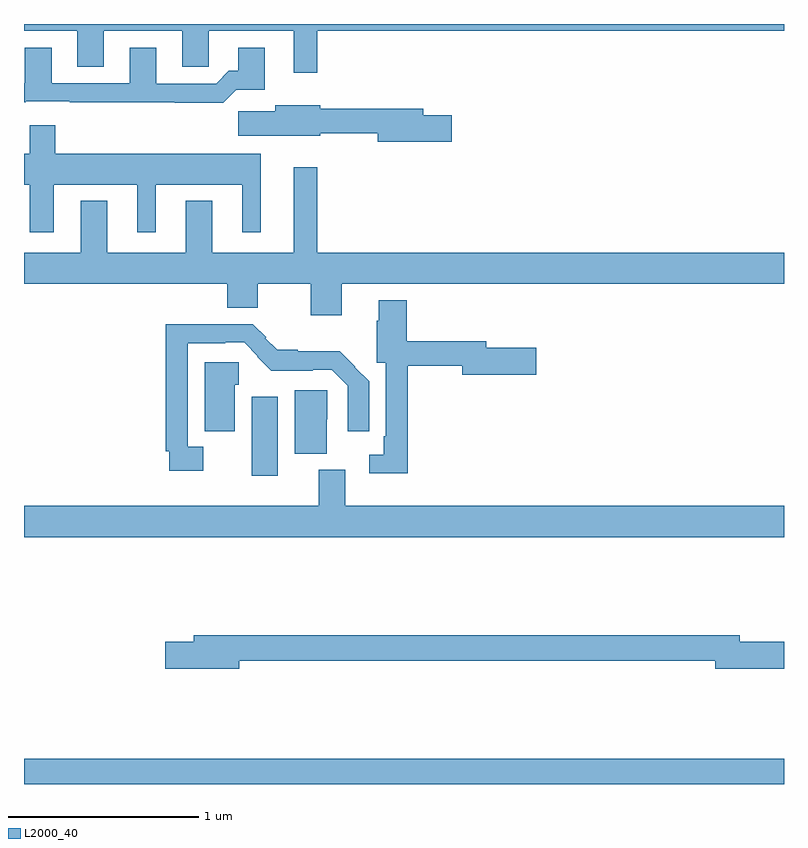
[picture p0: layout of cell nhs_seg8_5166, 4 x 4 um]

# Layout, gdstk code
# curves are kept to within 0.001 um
import gdstk
lib = gdstk.Library(unit=1e-6, precision=1e-09)
def R(c, l, rs):  # rectangles x0, y0, x1, y1
    for r in rs: c.add(gdstk.rectangle(r[:2], r[2:], *l))
def P(c, l, *ps):  # polygons
    for p in ps: c.add(gdstk.Polygon(p, *l))
L2000_40 = (2000, 40)

nhs_seg8_5166 = lib.new_cell('nhs_seg8_5166')
R(nhs_seg8_5166, L2000_40, [(423,1081.9,427,1082.032), (424.199,1083.522,424.336,1083.937)])
P(nhs_seg8_5166, L2000_40, [(424.543,1085.864),(427,1085.864),(427,1085.9),(423,1085.9),(423,1085.864),(423.281,1085.864),(423.281,1085.674),(423.421,1085.674),(423.421,1085.864),(423.833,1085.864),(423.833,1085.674),(423.972,1085.674),(423.972,1085.864),(424.421,1085.864),(424.421,1085.643),(424.543,1085.643)],
  [(424.118,1085.555),(424.267,1085.555),(424.267,1085.776),(424.127,1085.776),(424.127,1085.653),(424.078,1085.653),(424.011,1085.586),(423.697,1085.586),(423.697,1085.776),(423.557,1085.776),(423.557,1085.589),(423.145,1085.589),(423.145,1085.776),(423.005,1085.776),(423.005,1085.589),(423,1085.589),(423,1085.488),(423.009,1085.488),(423.009,1085.493),(423.241,1085.493),(423.241,1085.488),(423.793,1085.488),(423.793,1085.486),(424.049,1085.486)],
  [(425.251,1085.421),(425.101,1085.421),(425.101,1085.455),(424.558,1085.455),(424.558,1085.473),(424.322,1085.473),(424.322,1085.441),(424.128,1085.441),(424.128,1085.312),(424.558,1085.312),(424.558,1085.326),(424.862,1085.326),(424.862,1085.279),(425.251,1085.279)],
  [(423.157,1085.054),(423.596,1085.054),(423.596,1084.803),(423.694,1084.803),(423.694,1085.054),(424.148,1085.054),(424.148,1084.803),(424.246,1084.803),(424.246,1085.218),(423.164,1085.218),(423.164,1085.368),(423.029,1085.368),(423.029,1085.218),(423,1085.218),(423,1085.054),(423.029,1085.054),(423.029,1084.803),(423.157,1084.803)],
  [(424.672,1084.532),(427,1084.532),(427,1084.696),(424.543,1084.696),(424.543,1085.146),(424.421,1085.146),(424.421,1084.696),(423.991,1084.696),(423.991,1084.969),(423.851,1084.969),(423.851,1084.696),(423.439,1084.696),(423.439,1084.969),(423.299,1084.969),(423.299,1084.696),(423,1084.696),(423,1084.532),(424.07,1084.532),(424.07,1084.406),(424.231,1084.406),(424.231,1084.532),(424.508,1084.532),(424.508,1084.368),(424.672,1084.368)],
  [(425.021,1084.102),(425.306,1084.102),(425.306,1084.055),(425.695,1084.055),(425.695,1084.197),(425.434,1084.197),(425.434,1084.231),(425.015,1084.231),(425.015,1084.447),(424.868,1084.447),(424.868,1084.337),(424.856,1084.337),(424.856,1084.116),(424.905,1084.116),(424.905,1083.73),(424.893,1083.73),(424.893,1083.633),(424.818,1083.633),(424.818,1083.536),(425.021,1083.536)],
  [(423.944,1083.676),(423.861,1083.676),(423.861,1084.22),(424.058,1084.22),(424.058,1084.224),(424.158,1084.224),(424.23,1084.152),(424.227,1084.149),(424.301,1084.076),(424.52,1084.076),(424.52,1084.08),(424.62,1084.08),(424.704,1083.996),(424.704,1083.756),(424.816,1083.756),(424.816,1084.02),(424.661,1084.177),(424.441,1084.177),(424.441,1084.185),(424.333,1084.185),(424.271,1084.247),(424.275,1084.251),(424.205,1084.321),(423.745,1084.321),(423.745,1083.652),(423.765,1083.652),(423.765,1083.548),(423.944,1083.548)],
  [(424.108,1084.002),(424.131,1084.002),(424.131,1084.119),(423.95,1084.119),(423.95,1083.757),(424.108,1083.757)],
  [(424.594,1083.819),(424.596,1083.819),(424.596,1083.972),(424.424,1083.972),(424.424,1083.638),(424.594,1083.638)],
  [(427,1083.364),(424.69,1083.364),(424.69,1083.553),(424.55,1083.553),(424.55,1083.364),(423,1083.364),(423,1083.2),(427,1083.2)],
  [(424.132,1082.548),(426.638,1082.548),(426.638,1082.506),(427,1082.506),(427,1082.648),(426.766,1082.648),(426.766,1082.684),(423.893,1082.684),(423.893,1082.648),(423.744,1082.648),(423.744,1082.506),(424.132,1082.506)])

lib.write_gds('nhs_seg8_5166.gds')
